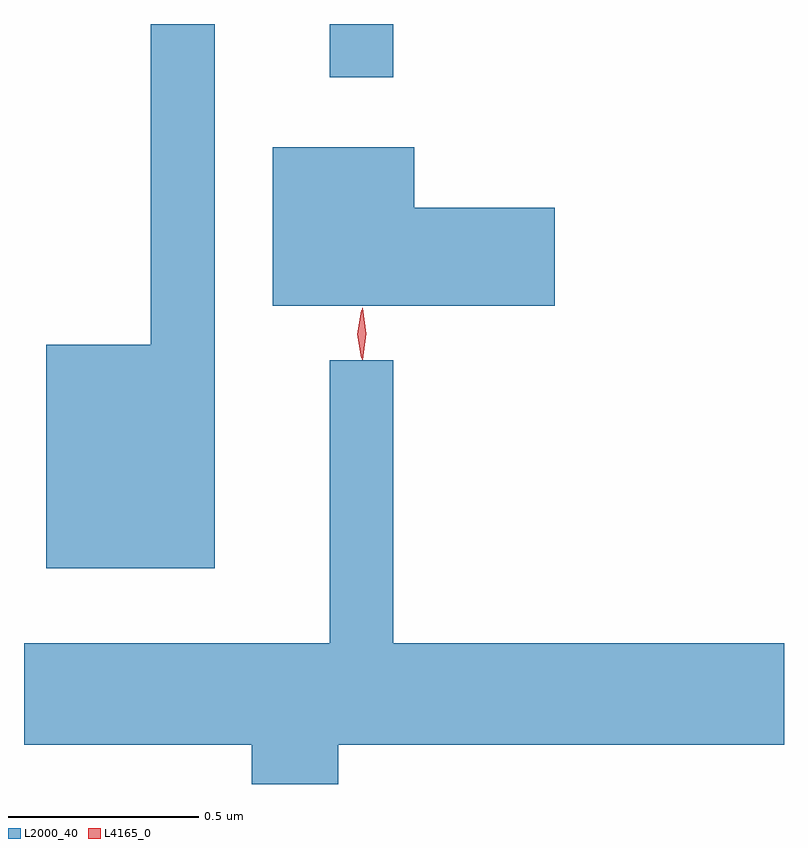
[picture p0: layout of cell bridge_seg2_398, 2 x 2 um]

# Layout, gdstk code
import gdstk
lib = gdstk.Library(unit=1e-6, precision=1e-09)
def R(c, l, rs):  # rectangles x0, y0, x1, y1
    for r in rs: c.add(gdstk.rectangle(r[:2], r[2:], *l))
def P(c, l, *ps):  # polygons
    for p in ps: c.add(gdstk.Polygon(p, *l))
L2000_40 = (2000, 40)
L4165_0 = (4165, 0)

bridge_seg2_398 = lib.new_cell('bridge_seg2_398')
R(bridge_seg2_398, L2000_40, [(527.921,1010.113,528.089,1010.253)])
P(bridge_seg2_398, L2000_40, [(527.619,1010.253),(527.451,1010.253),(527.451,1009.409),(527.176,1009.409),(527.176,1008.821),(527.619,1008.821)],
  [(528.514,1009.769),(528.144,1009.769),(528.144,1009.929),(527.771,1009.929),(527.771,1009.511),(528.514,1009.511)],
  [(527.944,1008.356),(529.117,1008.356),(529.117,1008.624),(528.089,1008.624),(528.089,1009.368),(527.921,1009.368),(527.921,1008.624),(527.117,1008.624),(527.117,1008.356),(527.716,1008.356),(527.716,1008.253),(527.944,1008.253)])
P(bridge_seg2_398, L4165_0, [(528.004,1009.373),(527.994,1009.436),(528.004,1009.499),(528.004,1009.5),(528.005,1009.499),(528.014,1009.436),(528.005,1009.373),(528.005,1009.373)],
  [(528.007,1009.37),(527.998,1009.438),(528.007,1009.505),(528.008,1009.506),(528.008,1009.505),(528.018,1009.438),(528.008,1009.37),(528.008,1009.37)])

lib.write_gds('bridge_seg2_398.gds')
